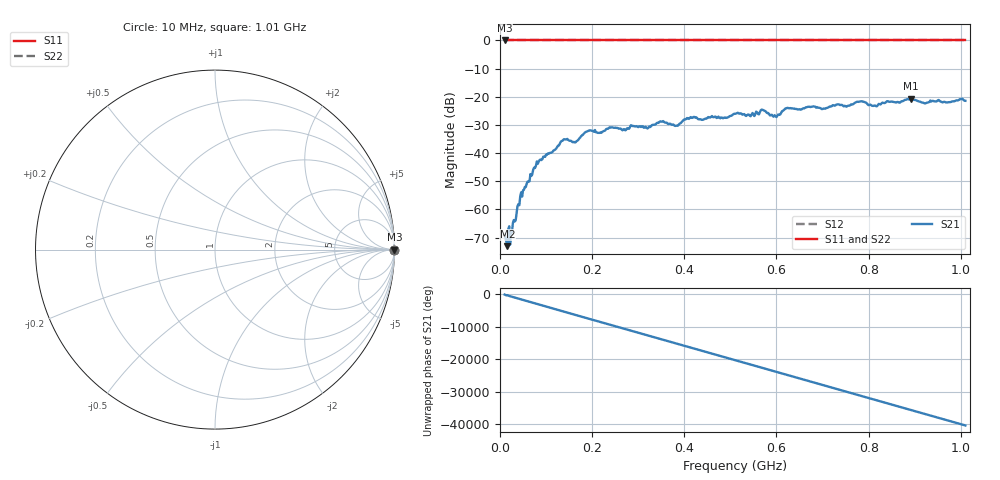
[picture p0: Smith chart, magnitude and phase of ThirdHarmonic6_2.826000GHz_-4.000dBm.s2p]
! 8/17/2025 7:30:21 AM
! C:\ANRITSUVNA\TEMP\TEMP.S2P
! CHANNEL.1
! TR.MEASUREMENT
! RAW.DATA
! RF.CORRECTION.OFF
! AVERAGING.OFF
! IF.BANDWIDTH: 5KHZ
! SWEEPTYPE:  FREQ.SWEEP(Linear)
! Reference Plane Port Info
! PORT:  PORT1  PORT2
! DISTANCE:  0  m  0  m
! TIME:  0  s  0  s
! PHASE.OFFSET:  0  deg.  0  deg.
! LOSS:  0  dB  0  dB
! REF.LOSS:  0  dB  0  dB
! REF.FREQ:  0  Hz  0  Hz
! Power Info
! POWER:  -20  dBm  -20  dBm
! EFF.POWER:  -20  dBm  -20  dBm
! SOURCE.ATTEN:  0  dB  0  dB
! TEST.ATTEN:  0  dB  0  dB
# GHZ S RI R 50.0
! FREQ.GHZ  S11RE  S11IM  S21RE  S21IM  S12RE  S12IM  S22RE  S22IM
!; PortSelection: Port_12
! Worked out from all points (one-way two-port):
!   501 points, 10 MHz to 1.01 GHz, reference 50 ohm
!   highest |S21| = -20.67 dB at 892 MHz (marker M1); lowest = -73.0 dB at 16 MHz (marker M2)
!   lowest |S11| = 0.0 dB at 10 MHz (marker M3)
!   |S11| at or under -10 dB: nowhere
!   |S22| runs from 0.0 to 0.0 dB; largest |S21 - S12| = 1.1
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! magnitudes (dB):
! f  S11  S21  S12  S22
! 10 MHz  0.0  -69.0  0.0  0.0
! 16 MHz  0.0  -73.0  0.0  0.0
! 26 MHz  0.0  -68.0  0.0  0.0
! 48 MHz  0.0  -55.5  0.0  0.0
! 82 MHz  0.0  -43.8  0.0  0.0
! 136 MHz  0.0  -35.6  0.0  0.0
! 162 MHz  0.0  -36.2  0.0  0.0
! 178 MHz  0.0  -33.7  0.0  0.0
! 194 MHz  0.0  -31.9  0.0  0.0
! 322 MHz  0.0  -31.0  0.0  0.0
! 344 MHz  0.0  -29.3  0.0  0.0
! 382 MHz  0.0  -30.3  0.0  0.0
! 410 MHz  0.0  -27.9  0.0  0.0
! 510 MHz  0.0  -26.0  0.0  0.0
! 570 MHz  0.0  -24.6  0.0  0.0
! 596 MHz  0.0  -26.5  0.0  0.0
! 622 MHz  0.0  -24.1  0.0  0.0
! 678 MHz  0.0  -23.4  0.0  0.0
! 844 MHz  0.0  -21.7  0.0  0.0
! 892 MHz  0.0  -20.7  0.0  0.0
! 922 MHz  0.0  -22.4  0.0  0.0
! 1.01 GHz  0.0  -21.4  0.0  0.0
